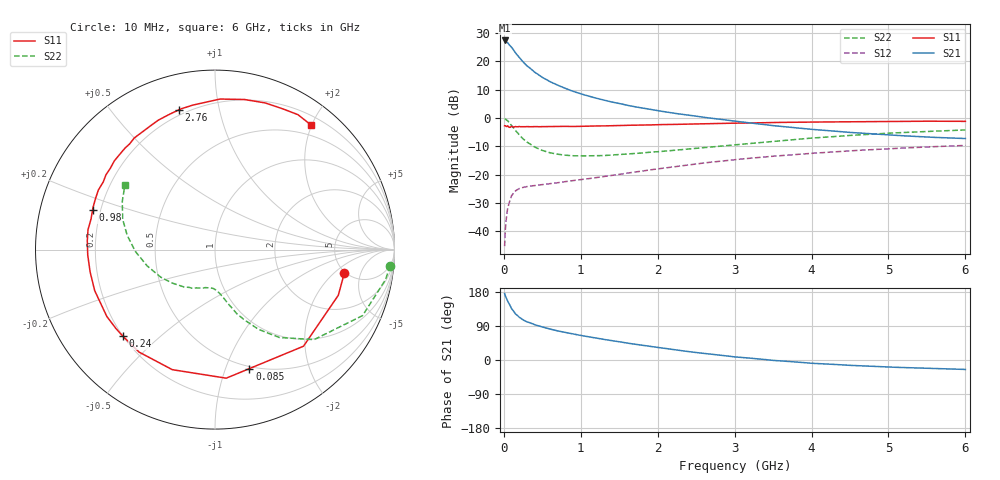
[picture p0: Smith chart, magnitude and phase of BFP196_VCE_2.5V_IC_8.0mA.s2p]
! Infineon Technologies  Discrete & RF Semiconductors
! BFP196
! VCE = 2.5 V,  IC = 8.0mA
! Common Emitter S-Parameters:  Jan 2016
# GHz  S  MA  R  50
!  f  S11  S21  S12  S22
! GHz  MAG  ANG  MAG  ANG  MAG  ANG  MAG  ANG
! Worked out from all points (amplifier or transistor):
!   210 points, 10 MHz to 6 GHz, reference 50 ohm
!   highest |S21| = 27.4 dB at 10 MHz (marker M1)
!   |S21| within 3 dB of that: start of sweep to 115.6 MHz
!   unconditionally stable (mu >= 1): 930.6 MHz to 3.426 GHz
!   at 185 MHz: K = 0.27, MSG = 23.5 dB, |S12| = -25.1 dB
!   at 1.52 GHz: K = 1.16, MAG = 10.0 dB, |S12| = -19.8 dB
!   at 6 GHz: K = 0.99, MSG = 1.2 dB, |S12| = -9.6 dB
!   S11 on the Smith chart (normalised r, x): 10 MHz: 4.84, -2.76; 85 MHz: 0.48, -1.21; 240 MHz: 0.20, -0.38; 980 MHz: 0.17, +0.15; 2.76 GHz: 0.17, +0.76; 6 GHz: 0.33, +1.98
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0.01  0.7323 -10.4  23.45 175.5  0.0055 86.4  0.9801 -5.3
0.02  0.7327 -20.3  22.92 169.1  0.0109 80.9  0.9642 -10.1
0.05  0.73 -47.5  21.38 154.9  0.0257 67.0  0.9006 -24.1
0.085  0.6901 -73.9  18.65 142.1  0.0373 55.3  0.7837 -36.1
0.1  0.7191 -85.0  17.82 135.6  0.0426 52.3  0.7463 -42.2
0.15  0.71 -109.6  14.23 121.9  0.0519 42.0  0.6068 -53.8
0.2  0.7106 -126.5  11.75 112.8  0.0571 36.5  0.5061 -61.4
0.24  0.7044 -136.9  10.16 107.3  0.0594 33.6  0.4447 -65.6
0.26  0.7056 -141.3  9.498 104.8  0.0604 32.6  0.4194 -67.7
0.3  0.7086 -148.3  8.382 100.7  0.062 31.3  0.3785 -71.1
0.4  0.7082 -161.2  6.478 93.2  0.0648 29.1  0.3093 -76.5
0.5  0.7069 -170.0  5.231 86.9  0.0675 29.4  0.2691 -80.4
0.7  0.7132 176.0  3.806 76.7  0.0724 31.5  0.2303 -87.3
0.98  0.717 162.0  2.736 65.6  0.0815 34.9  0.2155 -94.8
1.02  0.7197 160.2  2.633 64.1  0.0827 35.4  0.2154 -96.0
1.4  0.7365 145.6  1.928 51.2  0.0971 39.4  0.2234 -106.8
2.02  0.7678 125.3  1.34 32.7  0.1281 41.4  0.2562 -124.8
2.76  0.8042 104.4  0.973 13.9  0.1708 38.2  0.3151 -146.4
3.1  0.8173 96.5  0.854 6.6  0.1904 35.0  0.3471 -156.0
4.1  0.8533 77.3  0.619 -9.6  0.244 24.8  0.4529 179.0
5.1  0.872 63.2  0.496 -19.3  0.2922 13.3  0.5491 159.8
6  0.8767 52.6  0.436 -24.9  0.3298 2.3  0.6179 144.3
